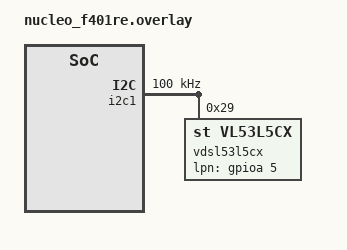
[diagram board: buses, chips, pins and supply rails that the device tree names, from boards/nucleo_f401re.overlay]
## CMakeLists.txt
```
# SPDX-License-Identifier: Apache-2.0

cmake_minimum_required(VERSION 3.20.0)
find_package(Zephyr REQUIRED HINTS $ENV{ZEPHYR_BASE})
project(vl53l5cx)

target_sources(app PRIVATE src/main.c)
```

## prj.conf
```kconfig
CONFIG_SHELL=y

# CONFIG_DEBUG_THREAD_INFO=y
# CONFIG_DEBUG_OPTIMIZATIONS=y

CONFIG_MAIN_STACK_SIZE=2048

CONFIG_GPIO=y
CONFIG_SENSOR=y

CONFIG_VL53L5CX=y
CONFIG_VL53L5CX_RECONFIGURE_ADDRESS=y
CONFIG_VL53L5CX_RESOLUTION_4X4=y
CONFIG_VL53L5CX_RANGING_FREQ=30

CONFIG_LOG=y
CONFIG_I2C_LOG_LEVEL_DBG=y
```

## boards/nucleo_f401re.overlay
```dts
&i2c1 {
    vdsl53l5cx: vl53l5cx@29 {
        compatible = "st,vl53l5cx";
        reg = <0x29>;
        lpn-gpios = <&gpioa 5 GPIO_ACTIVE_HIGH>;
        
    };
    clock-frequency = <100000>;
};

&i2c1_scl_pb8 {
    /delete-property/ bias-pull-up;
    bias-disable;
};

&i2c1_sda_pb9 {
    /delete-property/ bias-pull-up;
    bias-disable;  
};
```

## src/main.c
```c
#include <stdio.h>
#include <zephyr/kernel.h>
#include <zephyr/device.h>
#include <zephyr/drivers/sensor.h>
#include <vl53l5cx.h>


/* Custom attribute and channel definitions (matching your driver) */
#define SENSOR_ATTR_VL53L5CX_RANGING_STATE SENSOR_ATTR_PRIV_START
#define SENSOR_CHAN_VL53L5CX_DISTANCE_BASE SENSOR_CHAN_PRIV_START

int main(void)
{
    const struct device *dev = DEVICE_DT_GET_ANY(st_vl53l5cx);
    struct sensor_value enable = { .val1 = 1 };
    struct sensor_value result_value;
	int ret;

    if (!device_is_ready(dev)) {
        printf("Sensor device not ready\n");
        return 0;
    }

    ret = sensor_attr_set(dev, SENSOR_CHAN_ALL, (enum sensor_attribute)SENSOR_ATTR_VL53L5CX_RANGING_STATE, &enable);
    if (ret != 0) {
        printf("Failed to start ranging: %d\n", ret);
        return 0;
    }

    printf("VL53L5CX Ranging Started...\n");

    result_value = (struct sensor_value){0};
	ret =sensor_attr_get(dev, SENSOR_CHAN_ALL, SENSOR_ATTR_RESOLUTION, &result_value);
    if (ret != 0) {
        printf("Failed to get resolution: %d\n", ret);
		return 0;
    }
	int num_zones = result_value.val1;

	result_value = (struct sensor_value){0};
	ret = sensor_attr_get(dev, SENSOR_CHAN_ALL, SENSOR_ATTR_SAMPLING_FREQUENCY, &result_value);
	if (ret != 0) {
		printf("Failed to get sampling frequency: %d\n", ret);
		return 0;
	}
	int freq_hz = result_value.val1;

	printf("VL53L5CX Resolution: %dx%d (%d zones)\n", 
			 num_zones == 64 ? 8 : 4, 
			 num_zones == 64 ? 8 : 4, 
			 num_zones);
	printf("VL53L5CX Sampling Frequency: %d Hz\n", freq_hz);

    while (1) {
        ret = sensor_sample_fetch(dev);
        if (ret != 0) {
            printf("Fetch failed: %d\n", ret);
            k_msleep(1000/freq_hz);
            continue;
        }

		printf("\033[H\033[J"); // Clear terminal screen
        printf("Zonal Distances (meters):\n-------------------------\n");

        for (int i = 0; i < num_zones; i++) {
            sensor_channel_get(dev, (enum sensor_channel)(SENSOR_CHAN_VL53L5CX_DISTANCE_BASE + i), &result_value);

            printf("[%2d]: %d.%03dm  ", i, result_value.val1, result_value.val2 / 1000);
            
            int grid_width = (num_zones == 64) ? 8 : 4;
            if ((i + 1) % grid_width == 0) printf("\n");
        }

        k_msleep(1000/freq_hz);
    }

    return 0;
}
```
